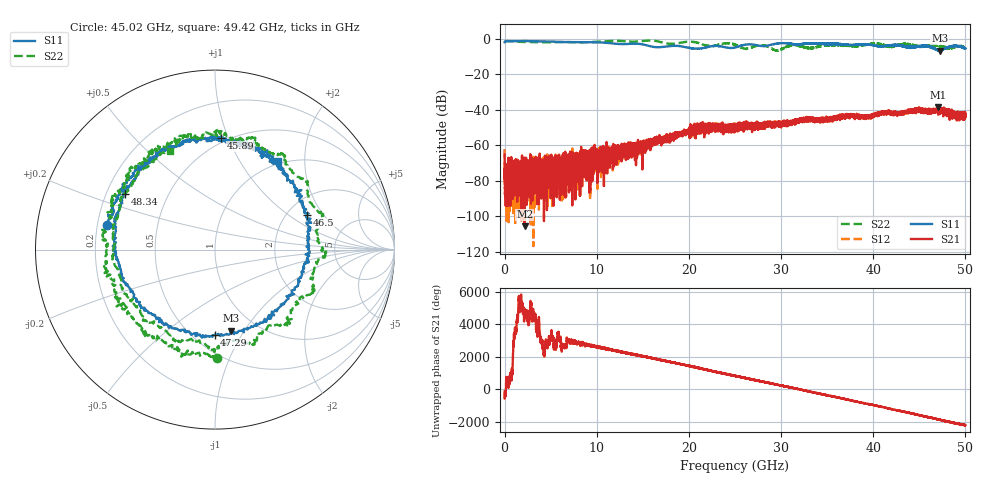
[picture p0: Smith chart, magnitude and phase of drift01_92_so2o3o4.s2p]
!Created with skrf (http://scikit-rf.org).
# Hz S RI R 50.0
!freq ReS11 ImS11 ReS21 ImS21 ReS12 ImS12 ReS22 ImS22
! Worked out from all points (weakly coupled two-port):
!   10001 points, 300 kHz to 50 GHz, reference 50 ohm
!   highest |S21| = -38.66 dB at 47.04 GHz (marker M1); lowest = -105.7 dB at 2.18 GHz (marker M2)
!   lowest |S11| = -6.7 dB at 47.21 GHz (marker M3), VSWR 2.71, Z = 38.1 - j43.7 ohm
!   |S11| at or under -10 dB: nowhere
!   |S22| runs from -6.8 to -1.0 dB; largest |S21 - S12| = 0.0039
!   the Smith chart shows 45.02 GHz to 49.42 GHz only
!   S11 on the Smith chart (normalised r, x): 45.02 GHz: 0.24, +0.11; 45.89 GHz: 0.46, +0.94; 46.5 GHz: 2.55, +1.42; 47.29 GHz: 0.63, -0.77; 48.34 GHz: 0.28, +0.27; 49.42 GHz: 0.96, +1.48
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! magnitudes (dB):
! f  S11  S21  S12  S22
! 300 kHz  -2.1  -65.3  -62.3  -1.3
! 340.3 MHz  -1.4  -77.9  -81.2  -1.4
! 2.18 GHz  -1.4  -105.7  -80.0  -1.9
! 5.885 GHz  -1.8  -74.0  -78.8  -2.0
! 8.335 GHz  -2.0  -69.1  -68.1  -2.1
! 16.67 GHz  -4.8  -57.2  -56.8  -1.6
! 21.27 GHz  -5.5  -49.4  -52.2  -2.8
! 25 GHz  -5.0  -49.2  -49.2  -3.4
! 28.09 GHz  -4.2  -50.3  -48.3  -3.8
! 29.52 GHz  -2.8  -48.3  -47.3  -6.8
! 31.27 GHz  -3.0  -46.3  -47.9  -4.0
! 33.34 GHz  -2.6  -46.2  -45.1  -5.4
! 41.67 GHz  -3.9  -41.1  -41.2  -4.5
! 45.02 GHz  -4.2  -40.4  -40.8  -4.4
! 45.89 GHz  -4.1  -40.7  -41.2  -4.2
! 46.5 GHz  -5.2  -40.4  -41.2  -3.7
! 47.04 GHz  -6.1  -38.7  -41.1  -4.2
! 47.21 GHz  -6.7  -40.9  -40.4  -4.6
! 47.29 GHz  -6.5  -40.9  -40.8  -4.0
! 48.34 GHz  -4.6  -42.6  -43.4  -5.5
! 49.42 GHz  -4.4  -42.1  -42.9  -4.4
! 50 GHz  -5.6  -43.6  -44.0  -4.3
